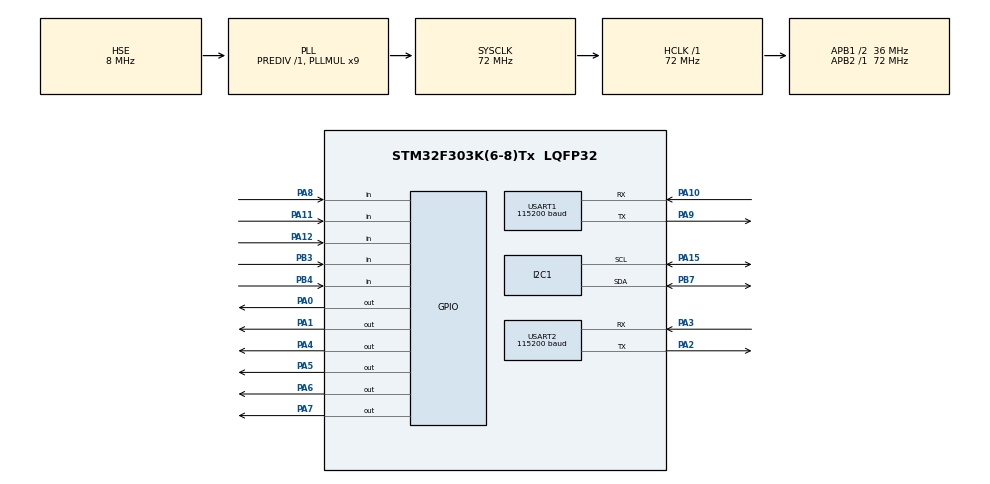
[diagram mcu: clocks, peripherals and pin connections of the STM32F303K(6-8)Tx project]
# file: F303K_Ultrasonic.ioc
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IWDG.Prescaler=IWDG_PRESCALER_16
Mcu.Family=STM32F3
Mcu.Name=STM32F303K(6-8)Tx
Mcu.Package=LQFP32
NVIC.PriorityGroup=NVIC_PRIORITYGROUP_4
PA0.Signal=GPIO_Output
PA1.Signal=GPIO_Output
PA10.Mode=Asynchronous
PA10.Signal=USART1_RX
PA11.Signal=GPIO_Input
PA12.Signal=GPIO_Input
PA13.Mode=Serial_Wire
PA13.Signal=SYS_JTMS-SWDIO
PA14.Mode=Serial_Wire
PA14.Signal=SYS_JTCK-SWCLK
PA15.Mode=I2C
PA15.Signal=I2C1_SCL
PA2.Mode=Asynchronous
PA2.Signal=USART2_TX
PA3.Mode=Asynchronous
PA3.Signal=USART2_RX
PA4.Signal=GPIO_Output
PA5.Signal=GPIO_Output
PA6.Signal=GPIO_Output
PA7.Signal=GPIO_Output
PA8.Signal=GPIO_Input
PA9.Mode=Asynchronous
PA9.Signal=USART1_TX
PB3.Signal=GPIO_Input
PB4.Signal=GPIO_Input
PB7.Mode=I2C
PB7.Signal=I2C1_SDA
PF0\ /\ OSC_IN.Mode=HSE-External-Oscillator
PF0\ /\ OSC_IN.Signal=RCC_OSC_IN
PF1\ /\ OSC_OUT.Mode=HSE-External-Oscillator
PF1\ /\ OSC_OUT.Signal=RCC_OSC_OUT
ProjectManager.HeapSize=0x200
ProjectManager.StackSize=0x400
ProjectManager.TargetToolchain=TrueSTUDIO
RCC.AHBFreq_Value=72000000
RCC.APB1CLKDivider=RCC_HCLK_DIV2
RCC.APB1Freq_Value=36000000
RCC.APB1TimFreq_Value=72000000
RCC.APB2Freq_Value=72000000
RCC.APB2TimFreq_Value=72000000
RCC.CortexFreq_Value=72000000
RCC.HCLKFreq_Value=72000000
RCC.HSE_VALUE=8000000
RCC.HSI_VALUE=8000000
RCC.PLLMUL=RCC_PLL_MUL9
RCC.PLLSourceVirtual=RCC_PLLSOURCE_HSE
RCC.SYSCLKFreq_VALUE=72000000
RCC.SYSCLKSourceVirtual=RCC_SYSCLKSOURCE_PLLCLK
USART1.BaudRate=115200
USART1.VirtualMode-Asynchronous=VM_ASYNC
USART1.WordLength=WORDLENGTH_8B
USART2.BaudRate=115200
USART2.VirtualMode-Asynchronous=VM_ASYNC
USART2.WordLength=WORDLENGTH_8B
VP_IWDG_VS_IWDG.Mode=IWDG_Activate
VP_TIM6_VS_ClockSourceINT.Mode=Enable_Timer
board=F303K_Ultrasonic

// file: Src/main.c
/**
  ******************************************************************************
  * File Name          : main.c
  * Description        : Main program body
  ******************************************************************************
  ** This notice applies to any and all portions of this file
  * that are not between comment pairs USER CODE BEGIN and
  * USER CODE END. Other portions of this file, whether
  * inserted by the user or by software development tools
  * are owned by their respective copyright owners.
  *
  * COPYRIGHT(c) 2018 STMicroelectronics
  *
  * Redistribution and use in source and binary forms, with or without modification,
  * are permitted provided that the following conditions are met:
  *   1. Redistributions of source code must retain the above copyright notice,
  *      this list of conditions and the following disclaimer.
  *   2. Redistributions in binary form must reproduce the above copyright notice,
  *      this list of conditions and the following disclaimer in the documentation
  *      and/or other materials provided with the distribution.
  *   3. Neither the name of STMicroelectronics nor the names of its contributors
  *      may be used to endorse or promote products derived from this software
  *      without specific prior written permission.
  *
  * THIS SOFTWARE IS PROVIDED BY THE COPYRIGHT HOLDERS AND CONTRIBUTORS "AS IS"
  * AND ANY EXPRESS OR IMPLIED WARRANTIES, INCLUDING, BUT NOT LIMITED TO, THE
  * IMPLIED WARRANTIES OF MERCHANTABILITY AND FITNESS FOR A PARTICULAR PURPOSE ARE
  * DISCLAIMED. IN NO EVENT SHALL THE COPYRIGHT HOLDER OR CONTRIBUTORS BE LIABLE
  * FOR ANY DIRECT, INDIRECT, INCIDENTAL, SPECIAL, EXEMPLARY, OR CONSEQUENTIAL
  * DAMAGES (INCLUDING, BUT NOT LIMITED TO, PROCUREMENT OF SUBSTITUTE GOODS OR
  * SERVICES; LOSS OF USE, DATA, OR PROFITS; OR BUSINESS INTERRUPTION) HOWEVER
  * CAUSED AND ON ANY THEORY OF LIABILITY, WHETHER IN CONTRACT, STRICT LIABILITY,
  * OR TORT (INCLUDING NEGLIGENCE OR OTHERWISE) ARISING IN ANY WAY OUT OF THE USE
  * OF THIS SOFTWARE, EVEN IF ADVISED OF THE POSSIBILITY OF SUCH DAMAGE.
  *
  ******************************************************************************
  */

#include "main.h"
#include "stm32f3xx_hal.h"
#include "i2c.h"
#include "iwdg.h"
#include "tim.h"
#include "usart.h"
#include "gpio.h"

/* USER CODE BEGIN Includes */
#include "xprintf.h"
#include "microsectimer.h"
/* USER CODE END Includes */

/* USER CODE BEGIN PV */
/* Private variables ---------------------------------------------------------*/

/* USER CODE END PV */

void SystemClock_Config(void);

/* USER CODE BEGIN PFP */
/* Private function prototypes -----------------------------------------------*/
void read_Ultrasonic();
/* USER CODE END PFP */

/* USER CODE BEGIN 0 */
int start;
int Duration[5];
int Distance[5];
int Distance_temp[5];
uint32_t timeout;
uint8_t Echo;
uint8_t Txbuf[11];
/* USER CODE END 0 */

int main(void)
{

  /* MCU Configuration----------------------------------------------------------*/

  /* Reset of all peripherals, Initializes the Flash interface and the Systick. */
  HAL_Init();

  /* Configure the system clock */
  SystemClock_Config();

  /* Initialize all configured peripherals */
  MX_GPIO_Init();
  MX_USART2_UART_Init();
  MX_I2C1_Init();
  MX_USART1_UART_Init();
  MX_IWDG_Init();
  MX_TIM6_Init();

  /* USER CODE BEGIN 2 */

	init_xpritf(&huart2);
	xdev_out(uart_putc);
	HAL_IWDG_Refresh(&hiwdg);
  /* USER CODE END 2 */

  /* Infinite loop */
  while (1)
  {

  /* USER CODE BEGIN 3 */
	  read_Ultrasonic();

	  if(Distance[3]==0){Distance[3]=Distance_temp[3];}

	  for(int i=0;i<5;i++){
	  	 if(Distance[i]==5000){Distance[i]=Distance_temp[i];}
	  }

	  for(int i=0;i<5;i++){
	  xprintf(" [%d]=%d",i,Distance[i]);
	  }
	  xprintf("\r\n");
	  HAL_IWDG_Refresh(&hiwdg);

	  Txbuf[0]=253;
	  Txbuf[1]= (uint8_t)( Distance[0] & 0b0000000011111111);
	  Txbuf[2]= (uint8_t)((Distance[0] & 0b1111111100000000)>>8);
	  Txbuf[3]= (uint8_t)( Distance[1] & 0b0000000011111111);
	  Txbuf[4]= (uint8_t)((Distance[1] & 0b1111111100000000)>>8);
	  Txbuf[5]= (uint8_t)( Distance[2] & 0b0000000011111111);
	  Txbuf[6]= (uint8_t)((Distance[2] & 0b1111111100000000)>>8);
	  Txbuf[7]= (uint8_t)( Distance[3] & 0b0000000011111111);
	  Txbuf[8]= (uint8_t)((Distance[3] & 0b1111111100000000)>>8);
	  Txbuf[9]= (uint8_t)( Distance[4] & 0b0000000011111111);
	  Txbuf[10]=(uint8_t)((Distance[4] & 0b1111111100000000)>>8);
	  HAL_UART_Transmit(&huart1,(uint8_t*)Txbuf,11,0x0f);
	  HAL_IWDG_Refresh(&hiwdg);

	  for(int i=0;i<5;i++){
		  Distance_temp[i]=Distance[i];
	  }
  }
  /* USER CODE END 3 */

}

/** System Clock Configuration
*/
void SystemClock_Config(void)
{

  RCC_OscInitTypeDef RCC_OscInitStruct;
  RCC_ClkInitTypeDef RCC_ClkInitStruct;
  RCC_PeriphCLKInitTypeDef PeriphClkInit;

    /**Initializes the CPU, AHB and APB busses clocks
    */
  RCC_OscInitStruct.OscillatorType = RCC_OSCILLATORTYPE_HSI|RCC_OSCILLATORTYPE_LSI
                              |RCC_OSCILLATORTYPE_HSE;
  RCC_OscInitStruct.HSEState = RCC_HSE_ON;
  RCC_OscInitStruct.HSEPredivValue = RCC_HSE_PREDIV_DIV1;
  RCC_OscInitStruct.HSIState = RCC_HSI_ON;
  RCC_OscInitStruct.HSICalibrationValue = 16;
  RCC_OscInitStruct.LSIState = RCC_LSI_ON;
  RCC_OscInitStruct.PLL.PLLState = RCC_PLL_ON;
  RCC_OscInitStruct.PLL.PLLSource = RCC_PLLSOURCE_HSE;
  RCC_OscInitStruct.PLL.PLLMUL = RCC_PLL_MUL9;
  if (HAL_RCC_OscConfig(&RCC_OscInitStruct) != HAL_OK)
  {
    _Error_Handler(__FILE__, __LINE__);
  }

    /**Initializes the CPU, AHB and APB busses clocks
    */
  RCC_ClkInitStruct.ClockType = RCC_CLOCKTYPE_HCLK|RCC_CLOCKTYPE_SYSCLK
                              |RCC_CLOCKTYPE_PCLK1|RCC_CLOCKTYPE_PCLK2;
  RCC_ClkInitStruct.SYSCLKSource = RCC_SYSCLKSOURCE_PLLCLK;
  RCC_ClkInitStruct.AHBCLKDivider = RCC_SYSCLK_DIV1;
  RCC_ClkInitStruct.APB1CLKDivider = RCC_HCLK_DIV2;
  RCC_ClkInitStruct.APB2CLKDivider = RCC_HCLK_DIV1;

  if (HAL_RCC_ClockConfig(&RCC_ClkInitStruct, FLASH_LATENCY_2) != HAL_OK)
  {
    _Error_Handler(__FILE__, __LINE__);
  }

  PeriphClkInit.PeriphClockSelection = RCC_PERIPHCLK_USART1|RCC_PERIPHCLK_I2C1;
  PeriphClkInit.Usart1ClockSelection = RCC_USART1CLKSOURCE_PCLK1;
  PeriphClkInit.I2c1ClockSelection = RCC_I2C1CLKSOURCE_HSI;
  if (HAL_RCCEx_PeriphCLKConfig(&PeriphClkInit) != HAL_OK)
  {
    _Error_Handler(__FILE__, __LINE__);
  }

    /**Configure the Systick interrupt time
    */
  HAL_SYSTICK_Config(HAL_RCC_GetHCLKFreq()/1000);

    /**Configure the Systick
    */
  HAL_SYSTICK_CLKSourceConfig(SYSTICK_CLKSOURCE_HCLK);

  /* SysTick_IRQn interrupt configuration */
  HAL_NVIC_SetPriority(SysTick_IRQn, 0, 0);
}

/* USER CODE BEGIN 4 */
void read_Ultrasonic(){

	  	  //HAL_Delay(3);
		  HAL_GPIO_WritePin(GPIOA,GPIO_PIN_0,0);
		  HAL_Delay(1);
		  HAL_GPIO_WritePin(GPIOA,GPIO_PIN_0,1);
		  delayUs(20);
		  HAL_GPIO_WritePin(GPIOA,GPIO_PIN_0,0);
		  Echo=HAL_GPIO_ReadPin(GPIOA,GPIO_PIN_8);
		  start = getUs();
		  timeout=0;
		  while(Echo==0 && timeout==0){
			  if(getUs()-start>2000){
				  timeout=1;
			  }
			  Echo=HAL_GPIO_ReadPin(GPIOA,GPIO_PIN_8);
		  }
		  if(timeout==0){
			  timeout=0;
			  start = getUs();
			  Echo=HAL_GPIO_ReadPin(GPIOA,GPIO_PIN_8);
			  while(Echo==1 && timeout==0){
				  if(getUs()-start>20000){
					  timeout=1;
		           }
			  Echo=HAL_GPIO_ReadPin(GPIOA,GPIO_PIN_8);
		      }
			  Duration[0]=getUs()-start;
		           if(timeout==1){
		        	   Distance[0]=5000;
		           }
		           else{
		        	   Distance[0] = Duration[0]*340*100/1000000/2;
		           }
		  }
		  else{
		  Distance[0]=5000;
		  }

		  HAL_IWDG_Refresh(&hiwdg);

		  //HAL_Delay(3);
		  HAL_GPIO_WritePin(GPIOA,GPIO_PIN_7,0);
		  HAL_Delay(1);
		  HAL_GPIO_WritePin(GPIOA,GPIO_PIN_7,1);
		  delayUs(20);
		  HAL_GPIO_WritePin(GPIOA,GPIO_PIN_7,0);
		  Echo=HAL_GPIO_ReadPin(GPIOB,GPIO_PIN_3);
		  start = getUs();
		  timeout=0;
		  while(Echo==0 && timeout==0){
			  if(getUs()-start>2000){
				  timeout=1;
			  }
			  Echo=HAL_GPIO_ReadPin(GPIOB,GPIO_PIN_3);
		  }
		  if(timeout==0){
			  timeout=0;
			  start = getUs();
			  Echo=HAL_GPIO_ReadPin(GPIOB,GPIO_PIN_3);
			  while(Echo==1 && timeout==0){
				  if(getUs()-start>20000){
					  timeout=1;
				  }
				  Echo=HAL_GPIO_ReadPin(GPIOB,GPIO_PIN_3);
			  }
			  Duration[3]=getUs()-start;
			  if(timeout==1){
				  Distance[3]=5000;
			  }
			  else{
				  Distance[3] = Duration[3]*340*100/1000000/2;
			  }
		  }
		  else{
			  Distance[3]=5000;
		  }
		  HAL_IWDG_Refresh(&hiwdg);

		  //HAL_Delay(3);
		  HAL_GPIO_WritePin(GPIOA,GPIO_PIN_4,0);
		  HAL_Delay(1);
		  HAL_GPIO_WritePin(GPIOA,GPIO_PIN_4,1);
		  delayUs(20);
		  HAL_GPIO_WritePin(GPIOA,GPIO_PIN_4,0);
		  Echo=HAL_GPIO_ReadPin(GPIOA,GPIO_PIN_12);
		  start = getUs();
		  timeout=0;
		  while(Echo==0 && timeout==0){
			  if(getUs()-start>2000){
				  timeout=1;
			  }
			  Echo=HAL_GPIO_ReadPin(GPIOA,GPIO_PIN_12);
		  }
		  if(timeout==0){
			  timeout=0;
			  start = getUs();
			  Echo=HAL_GPIO_ReadPin(GPIOA,GPIO_PIN_12);
			  while(Echo==1 && timeout==0){
				  if(getUs()-start>20000){
					  timeout=1;
				  }
				  Echo=HAL_GPIO_ReadPin(GPIOA,GPIO_PIN_12);
			  }
			  Duration[2]=getUs()-start;
			  if(timeout==1){
				  Distance[2]=5000;
			  }
			  else{
				  Distance[2] = Duration[2]*340*100/1000000/2;
			  }
		  }
		  else{
			  Distance[2]=5000;
		  }
		  HAL_IWDG_Refresh(&hiwdg);

		  //HAL_Delay(3);
		  HAL_GPIO_WritePin(GPIOA,GPIO_PIN_6,0);
		  HAL_Delay(1);
		  HAL_GPIO_WritePin(GPIOA,GPIO_PIN_6,1);
		  delayUs(20);
		  HAL_GPIO_WritePin(GPIOA,GPIO_PIN_6,0);
		  Echo=HAL_GPIO_ReadPin(GPIOB,GPIO_PIN_4);
		  start = getUs();
		  timeout=0;
		  while(Echo==0 && timeout==0){
			  if(getUs()-start>2000){
				  timeout=1;
			  }
			  Echo=HAL_GPIO_ReadPin(GPIOB,GPIO_PIN_4);
		  }
		  if(timeout==0){
			  timeout=0;
			  start = getUs();
			  Echo=HAL_GPIO_ReadPin(GPIOB,GPIO_PIN_4);
			  while(Echo==1 && timeout==0){
				  if(getUs()-start> 20000){
					  timeout=1;
				  }
				  Echo=HAL_GPIO_ReadPin(GPIOB,GPIO_PIN_4);
			  }
			  Duration[4]=getUs()-start;
			  if(timeout==1 ){
				  Distance[4]=5000;
			  }
			  else{
				  Distance[4] = Duration[4]*340*100/1000000/2;
			  }
		  }
		  else{
			  Distance[4]=5000;
		  }
		  HAL_IWDG_Refresh(&hiwdg);

		  //HAL_Delay(3);
		  HAL_GPIO_WritePin(GPIOA,GPIO_PIN_1,0);
		  HAL_Delay(1);
		  HAL_GPIO_WritePin(GPIOA,GPIO_PIN_1,1);
		  delayUs(20);
		  HAL_GPIO_WritePin(GPIOA,GPIO_PIN_1,0);
		  Echo=HAL_GPIO_ReadPin(GPIOA,GPIO_PIN_11);
		  start = getUs();
		  timeout=0;
		  while(Echo==0 && timeout==0){
			  if(getUs()-start>2000){
				  timeout=1;
			  }
			  Echo=HAL_GPIO_ReadPin(GPIOA,GPIO_PIN_11);
		  }
		  if(timeout==0){
			  timeout=0;
			  start = getUs();
			  Echo=HAL_GPIO_ReadPin(GPIOA,GPIO_PIN_11);
			  while(Echo==1 && timeout==0){
				  if(getUs()-start>20000){
					  timeout=1;
				  }
				  Echo=HAL_GPIO_ReadPin(GPIOA,GPIO_PIN_11);
			  }
			  Duration[1]=getUs()-start;
			  if(timeout==1){
				  Distance[1]=5000;
			  }
			  else{
				  Distance[1] = Duration[1]*340*100/1000000/2;
			  }
		  }
		  else{
			  Distance[1]=5000;
		  }
		  HAL_IWDG_Refresh(&hiwdg);

}
/* USER CODE END 4 */

void _Error_Handler(char * file, int line)
{
  while(1)
  {
  }
}

/************************ (C) COPYRIGHT STMicroelectronics *****END OF FILE****/
